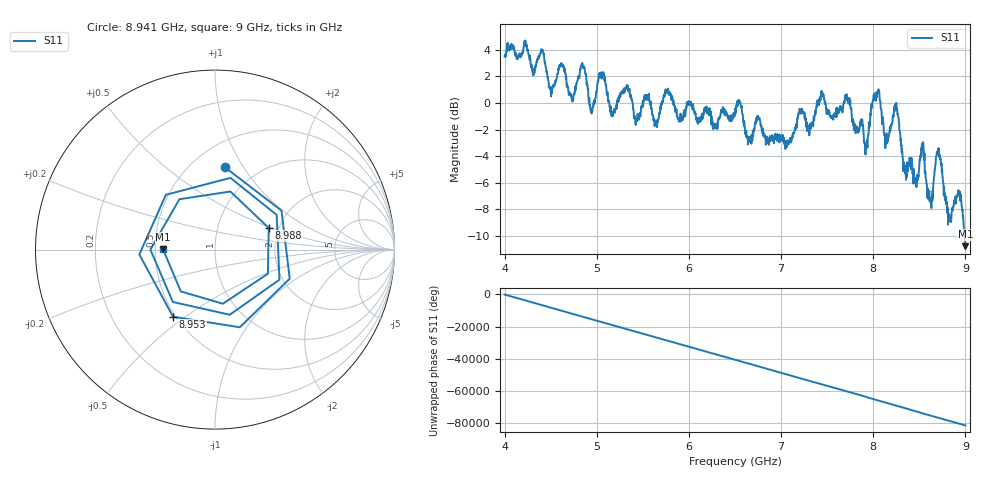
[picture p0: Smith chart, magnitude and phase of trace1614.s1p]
! Created with skrf 1.8.0 (http://scikit-rf.org).
# Hz S RI R 50.0
!freq ReS11 ImS11
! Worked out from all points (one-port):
!   1601 points, 4 GHz to 9 GHz, reference 50 ohm
!   lowest |S11| = -10.8 dB at 9 GHz (marker M1), VSWR 1.81, Z = 27.6 + j0.0365 ohm
!   |S11| at or under -10 dB: 8.992172 GHz to end of sweep
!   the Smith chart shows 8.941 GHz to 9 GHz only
!   S11 on the Smith chart (normalised r, x): 8.941 GHz: 0.71, +0.83; 8.953 GHz: 0.48, -0.45; 8.988 GHz: 1.77, +0.48; 9 GHz: 0.55, +0.00
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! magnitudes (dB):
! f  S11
! 4 GHz  3.5
! 4.406 GHz  3.9
! 4.506 GHz  0.6
! 4.625 GHz  3.0
! 4.722 GHz  0.7
! 4.853 GHz  2.7
! 4.947 GHz  -0.4
! 5.047 GHz  2.1
! 5.162 GHz  -1.0
! 5.25 GHz  0.5
! 5.875 GHz  -1.1
! 6.5 GHz  -0.4
! 7.125 GHz  -2.6
! 7.438 GHz  0.6
! 7.75 GHz  0.2
! 7.922 GHz  -3.4
! 8.038 GHz  0.4
! 8.141 GHz  -2.6
! 8.25 GHz  0.0
! 8.375 GHz  -4.6
! 8.531 GHz  -3.0
! 8.622 GHz  -7.3
! 8.706 GHz  -3.7
! 8.825 GHz  -8.4
! 8.941 GHz  -6.7
! 8.953 GHz  -7.1
! 8.988 GHz  -9.8
! 9 GHz  -10.8
